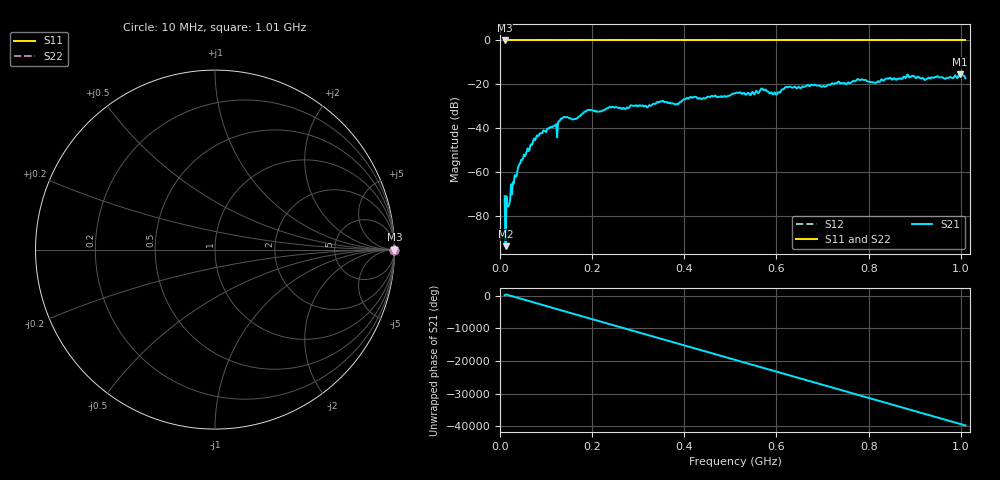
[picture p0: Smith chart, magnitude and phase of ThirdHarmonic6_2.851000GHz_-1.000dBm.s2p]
! 8/17/2025 7:43:05 AM
! C:\ANRITSUVNA\TEMP\TEMP.S2P
! CHANNEL.1
! TR.MEASUREMENT
! RAW.DATA
! RF.CORRECTION.OFF
! AVERAGING.OFF
! IF.BANDWIDTH: 5KHZ
! SWEEPTYPE:  FREQ.SWEEP(Linear)
! Reference Plane Port Info
! PORT:  PORT1  PORT2
! DISTANCE:  0  m  0  m
! TIME:  0  s  0  s
! PHASE.OFFSET:  0  deg.  0  deg.
! LOSS:  0  dB  0  dB
! REF.LOSS:  0  dB  0  dB
! REF.FREQ:  0  Hz  0  Hz
! Power Info
! POWER:  -20  dBm  -20  dBm
! EFF.POWER:  -20  dBm  -20  dBm
! SOURCE.ATTEN:  0  dB  0  dB
! TEST.ATTEN:  0  dB  0  dB
# GHZ S RI R 50.0
! FREQ.GHZ  S11RE  S11IM  S21RE  S21IM  S12RE  S12IM  S22RE  S22IM
!; PortSelection: Port_12
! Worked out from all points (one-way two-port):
!   501 points, 10 MHz to 1.01 GHz, reference 50 ohm
!   highest |S21| = -15.39 dB at 998 MHz (marker M1); lowest = -93.8 dB at 12 MHz (marker M2)
!   lowest |S11| = 0.0 dB at 10 MHz (marker M3)
!   |S11| at or under -10 dB: nowhere
!   |S22| runs from 0.0 to 0.0 dB; largest |S21 - S12| = 1.2
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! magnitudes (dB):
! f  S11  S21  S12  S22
! 10 MHz  0.0  -71.0  0.0  0.0
! 12 MHz  0.0  -93.8  0.0  0.0
! 16 MHz  0.0  -75.6  0.0  0.0
! 28 MHz  0.0  -64.6  0.0  0.0
! 44 MHz  0.0  -55.8  0.0  0.0
! 76 MHz  0.0  -45.4  0.0  0.0
! 120 MHz  0.0  -38.7  0.0  0.0
! 136 MHz  0.0  -35.4  0.0  0.0
! 162 MHz  0.0  -35.8  0.0  0.0
! 178 MHz  0.0  -33.5  0.0  0.0
! 344 MHz  0.0  -28.3  0.0  0.0
! 382 MHz  0.0  -29.1  0.0  0.0
! 410 MHz  0.0  -26.5  0.0  0.0
! 510 MHz  0.0  -24.1  0.0  0.0
! 570 MHz  0.0  -22.1  0.0  0.0
! 596 MHz  0.0  -23.7  0.0  0.0
! 622 MHz  0.0  -21.3  0.0  0.0
! 678 MHz  0.0  -20.3  0.0  0.0
! 814 MHz  0.0  -19.3  0.0  0.0
! 844 MHz  0.0  -17.4  0.0  0.0
! 998 MHz  0.0  -15.4  0.0  0.0
! 1.01 GHz  0.0  -17.2  0.0  0.0
